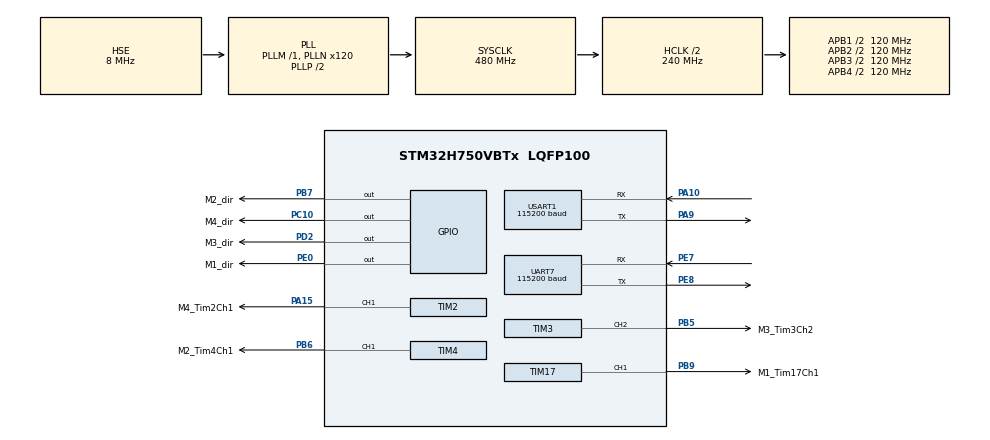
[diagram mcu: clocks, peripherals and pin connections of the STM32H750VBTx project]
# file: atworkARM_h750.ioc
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CORTEX_M7.default_mode_Activation=1
Mcu.Family=STM32H7
Mcu.Name=STM32H750VBTx
Mcu.Package=LQFP100
NVIC.PriorityGroup=NVIC_PRIORITYGROUP_4
NVIC.TIM17_IRQn=true\:0\:0\:false\:false\:true\:true\:true\:true
NVIC.TIM2_IRQn=true\:0\:0\:false\:false\:true\:true\:true\:true
NVIC.TIM3_IRQn=true\:0\:0\:false\:false\:true\:true\:true\:true
NVIC.TIM4_IRQn=true\:0\:0\:false\:false\:true\:true\:true\:true
PA10.Mode=Asynchronous
PA10.Signal=USART1_RX
PA15\ (JTDI).GPIO_Label=M4_Tim2Ch1
PA15\ (JTDI).Signal=S_TIM2_CH1_ETR
PA9.Mode=Asynchronous
PA9.Signal=USART1_TX
PB5.GPIO_Label=M3_Tim3Ch2
PB5.Signal=S_TIM3_CH2
PB6.GPIO_Label=M2_Tim4Ch1
PB6.Signal=S_TIM4_CH1
PB7.GPIO_Label=M2_dir
PB7.Signal=GPIO_Output
PB9.GPIO_Label=M1_Tim17Ch1
PB9.Signal=S_TIM17_CH1
PC10.GPIO_Label=M4_dir
PC10.Signal=GPIO_Output
PD2.GPIO_Label=M3_dir
PD2.Signal=GPIO_Output
PE0.GPIO_Label=M1_dir
PE0.Signal=GPIO_Output
PE7.Mode=Asynchronous
PE7.Signal=UART7_RX
PE8.Mode=Asynchronous
PE8.Signal=UART7_TX
PH0-OSC_IN\ (PH0).Mode=HSE-External-Oscillator
PH0-OSC_IN\ (PH0).Signal=RCC_OSC_IN
PH1-OSC_OUT\ (PH1).Mode=HSE-External-Oscillator
PH1-OSC_OUT\ (PH1).Signal=RCC_OSC_OUT
ProjectManager.HeapSize=0x200
ProjectManager.StackSize=0x400
ProjectManager.TargetToolchain=STM32CubeIDE
RCC.ADCFreq_Value=16125000
RCC.APB1Freq_Value=120000000
RCC.APB2Freq_Value=120000000
RCC.APB3Freq_Value=120000000
RCC.APB4Freq_Value=120000000
RCC.CodegenConfigPeriph=true
RCC.CortexFreq_Value=480000000
RCC.D1PPRE=RCC_APB3_DIV2
RCC.D2PPRE1=RCC_APB1_DIV2
RCC.D2PPRE2=RCC_APB2_DIV2
RCC.D3PPRE=RCC_APB4_DIV2
RCC.DATA_CACHE_ENABLE=1
RCC.DIVM1=1
RCC.DIVN1=120
RCC.HCLKFreq_Value=240000000
RCC.HPRE=RCC_HCLK_DIV2
RCC.HSE_VALUE=8000000
RCC.INSTRUCTION_CACHE_ENABLE=1
RCC.LSE_Drive_CapabilityArg=+LSE_Drive_Capability
RCC.PLLFRACN=0
RCC.PLLSourceVirtual=RCC_PLLSOURCE_HSE
RCC.PREFETCH_ENABLE=0
RCC.SYSCLKFreq_VALUE=480000000
RCC.SYSCLKSource=RCC_SYSCLKSOURCE_PLLCLK
RCC.USBFreq_Value=480000000
SH.S_TIM17_CH1.0=TIM17_CH1,PWM Generation1 CH1
SH.S_TIM2_CH1_ETR.0=TIM2_CH1,PWM Generation1 CH1
SH.S_TIM3_CH2.0=TIM3_CH2,PWM Generation2 CH2
SH.S_TIM4_CH1.0=TIM4_CH1,PWM Generation1 CH1
TIM17.Channel=TIM_CHANNEL_1
TIM17.Prescaler=0
TIM2.Channel-PWM\ Generation1\ CH1=TIM_CHANNEL_1
TIM3.Channel-PWM\ Generation2\ CH2=TIM_CHANNEL_2
TIM4.Channel-PWM\ Generation1\ CH1=TIM_CHANNEL_1
UART7.BaudRate=115200
UART7.Mode=MODE_TX_RX
USART1.BaudRate=115200
USART1.Mode=MODE_TX_RX
USART1.Parity=PARITY_NONE
USART1.VirtualMode-Asynchronous=VM_ASYNC
VP_MEMORYMAP_VS_MEMORYMAP.Mode=CurAppReg
VP_TIM17_VS_ClockSourceINT.Mode=Enable_Timer
VP_TIM2_VS_ClockSourceINT.Mode=Internal
VP_TIM3_VS_ClockSourceINT.Mode=Internal
VP_TIM4_VS_ClockSourceINT.Mode=Internal
board=custom

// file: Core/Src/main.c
/* USER CODE BEGIN Header */
/**
 ******************************************************************************
 * @file           : main.c
 * @brief          : Main program body
 ******************************************************************************
 * @attention
 *
 * Copyright (c) 2026 STMicroelectronics.
 * All rights reserved.
 *
 * This software is licensed under terms that can be found in the LICENSE file
 * in the root directory of this software component.
 * If no LICENSE file comes with this software, it is provided AS-IS.
 *
 ******************************************************************************
 */
/* USER CODE END Header */
#include "main.h"
#include "memorymap.h"
#include "tim.h"
#include "usart.h"
#include "gpio.h"

/* USER CODE BEGIN Includes */
#include "math.h"
#include <stdio.h>
#include <stdbool.h>  //For bool
#include <stdint.h>
#include <string.h>
/* USER CODE END Includes */

/* USER CODE BEGIN PTD */

#define MOTOR_PULSES_PER_REV    2000
#define MAX_MOTOR_FREQ_HZ       30000.0
#define TIMER_CLK_HZ            240000000UL

#define GEAR_RATIO_M1           20
#define GEAR_RATIO_M2           100
#define GEAR_RATIO_M3           40
#define GEAR_RATIO_M4           60

char msg[128];
volatile bool motors_busy = false;
volatile uint32_t psc;
volatile uint32_t arr;
volatile double f_step;
volatile uint32_t ccr;
/* USER CODE END PTD */

/* USER CODE BEGIN PD */
double motor_freq[4];
volatile uint32_t motor_pulses[4];
volatile uint32_t motor_pulse_count[4] = { 0, 0, 0, 0 };
double SPEED_INDEX = 1.0;

// Robot parameters
volatile bool dir[4];
volatile int16_t DELTA[4];
volatile bool flag_send_complt;
volatile uint8_t completed_mask = 0;
volatile uint32_t last_debug_time;
// Conversion to motor pulses
double pulses;

double motor_angle[4];
double required_motion[4];

double max_motion = 0.0;
double max_frequency;

/* USER CODE END PD */

/* USER CODE BEGIN PV */

///////usart1  parameters definition
uint8_t rx_byte;

char motor_packet[27];
uint8_t packet_index = 0;
uint8_t new_motor_packet = 0;

void UART1_ProcessByte(uint8_t c);
void ProcessMotorPacket(void);

/* USER CODE END PV */

void SystemClock_Config(void);
static void MPU_Config(void);

/* USER CODE BEGIN 0 */

void UART1_ProcessByte(uint8_t c) {
	/*
	 * We are waiting for the beginning
	 * of a new packet.
	 */
	if (packet_index == 0) {
		if (c == 'A') {
			motor_packet[0] = 'A';
			packet_index = 1;
		}

		return;
	}

	/*
	 * We are already receiving a packet.
	 *
	 * If another A appears, discard the
	 * incomplete packet and start again.
	 */
	if (c == 'A') {
		motor_packet[0] = 'A';
		packet_index = 1;

		return;
	}

	/*
	 * Store the byte.
	 */
	motor_packet[packet_index] = c;
	packet_index++;

	/*
	 * 26 bytes received:
	 *
	 * [0]  A
	 * [1]  DIR1
	 * [2-5] DELTA1
	 *
	 * [6]  DIR2
	 * [7-10] DELTA2
	 *
	 * [11] DIR3
	 * [12-15] DELTA3
	 *
	 * [16] DIR4
	 * [17-20] DELTA4
	 *
	 * [21] B
	 */
	if (packet_index == 22) {
		if (motor_packet[21] == 'B') {
			ProcessMotorPacket();
			new_motor_packet = 1;
		}

		/*
		 * Ready for the next packet.
		 */
		packet_index = 0;
	}
}

void ProcessMotorPacket(void) {

	// Motor 1
	dir[0] = motor_packet[1] - '0';

	DELTA[0] = (motor_packet[2] - '0') * 1000 + (motor_packet[3] - '0') * 100
			+ (motor_packet[4] - '0') * 10 + (motor_packet[5] - '0');

	// Motor 2
	dir[1] = motor_packet[6] - '0';

	DELTA[1] = (motor_packet[7] - '0') * 1000 + (motor_packet[8] - '0') * 100
			+ (motor_packet[9] - '0') * 10 + (motor_packet[10] - '0');

	// Motor 3
	dir[2] = motor_packet[11] - '0';

	DELTA[2] = (motor_packet[12] - '0') * 1000 + (motor_packet[13] - '0') * 100
			+ (motor_packet[14] - '0') * 10 + (motor_packet[15] - '0');

	// Motor 4
	dir[3] = motor_packet[16] - '0';

	DELTA[3] = (motor_packet[17] - '0') * 1000 + (motor_packet[18] - '0') * 100
			+ (motor_packet[19] - '0') * 10 + (motor_packet[20] - '0');

}
void CalculateMotorMotion(const int16_t DELTA[4]) {
	max_motion = 0.0;
	const uint32_t gear[4] = {
	GEAR_RATIO_M1,
	GEAR_RATIO_M2,
	GEAR_RATIO_M3,
	GEAR_RATIO_M4 };
	/*
	 * DELTA is assumed to be in 0.1 degree units.
	 *
	 * Example:
	 * DELTA = 900 means 90.0 degrees.
	 */

	for (uint8_t i = 0; i < 4; i++) {
		motor_angle[i] = fabs(DELTA[i]) / 10.0;

		/*
		 * required_motion is proportional to the
		 * number of motor revolutions required.
		 */
		required_motion[i] = motor_angle[i] * gear[i];

		if (required_motion[i] > max_motion) {
			max_motion = required_motion[i];
		}
	}

	if (max_motion == 0.0) {
		for (uint8_t i = 0; i < 4; i++) {
			motor_freq[i] = 0.0;
			motor_pulses[i] = 0;
		}

		return;
	}

	/*
	 * The motor requiring the largest number of pulses
	 * gets the maximum frequency.
	 */
	max_frequency = MOTOR_PULSES_PER_REV * SPEED_INDEX;

	/*
	 * Calculate exact pulse counts
	 */
	for (uint8_t i = 0; i < 4; i++) {

		pulses = (motor_angle[i] / 360.0) * (double) MOTOR_PULSES_PER_REV
				* (double) gear[i];

		motor_pulses[i] = (uint32_t) llround(pulses);

		/*
		 * Frequency proportional to required pulses
		 */
		motor_freq[i] = max_frequency * required_motion[i] / max_motion;
	}

}

//positive direction --> set dir pin
void SetMotorDirections(bool dir[4]) {
	if (dir[0] == 1)
		HAL_GPIO_WritePin(M1_dir_GPIO_Port,
		M1_dir_Pin, GPIO_PIN_SET);
	else
		HAL_GPIO_WritePin(M1_dir_GPIO_Port,
		M1_dir_Pin, GPIO_PIN_RESET);

	if (dir[1] == 1)
		HAL_GPIO_WritePin(M2_dir_GPIO_Port,
		M2_dir_Pin, GPIO_PIN_SET);
	else
		HAL_GPIO_WritePin(M2_dir_GPIO_Port,
		M2_dir_Pin, GPIO_PIN_RESET);

	if (dir[2] == 1)
		HAL_GPIO_WritePin(M3_dir_GPIO_Port,
		M3_dir_Pin, GPIO_PIN_SET);
	else
		HAL_GPIO_WritePin(M3_dir_GPIO_Port,
		M3_dir_Pin, GPIO_PIN_RESET);

	if (dir[3] == 1)
		HAL_GPIO_WritePin(M4_dir_GPIO_Port,
		M4_dir_Pin, GPIO_PIN_SET);
	else
		HAL_GPIO_WritePin(M4_dir_GPIO_Port,
		M4_dir_Pin, GPIO_PIN_RESET);
}
void StartMotorMove(void) {
	motors_busy = true;
	flag_send_complt = 0;
	completed_mask = 0;

	motor_pulse_count[0] = 0;
	motor_pulse_count[1] = 0;
	motor_pulse_count[2] = 0;
	motor_pulse_count[3] = 0;

	/*
	 * Motors with zero pulses are already complete.
	 */
	if (motor_pulses[0] == 0)
		completed_mask |= (1U << 0);

	if (motor_pulses[1] == 0)
		completed_mask |= (1U << 1);

	if (motor_pulses[2] == 0)
		completed_mask |= (1U << 2);

	if (motor_pulses[3] == 0)
		completed_mask |= (1U << 3);

	/*
	 * Configure frequencies
	 */
	SetMotorFrequency(&htim17,
	TIM_CHANNEL_1, motor_freq[0]);

	SetMotorFrequency(&htim4,
	TIM_CHANNEL_1, motor_freq[1]);

	SetMotorFrequency(&htim3,
	TIM_CHANNEL_2, motor_freq[2]);

	SetMotorFrequency(&htim2,
	TIM_CHANNEL_1, motor_freq[3]);

	/*
	 * Start TIM17
	 */
	if (motor_pulses[0] > 0) {
		__HAL_TIM_SET_COUNTER(&htim17, 0);
		__HAL_TIM_CLEAR_FLAG(&htim17, TIM_FLAG_UPDATE);
		__HAL_TIM_ENABLE_IT(&htim17, TIM_IT_UPDATE);

		HAL_TIM_PWM_Start(&htim17, TIM_CHANNEL_1);
	}

	/*
	 * Start TIM4
	 */
	if (motor_pulses[1] > 0) {
		__HAL_TIM_SET_COUNTER(&htim4, 0);
		__HAL_TIM_CLEAR_FLAG(&htim4, TIM_FLAG_UPDATE);
		__HAL_TIM_ENABLE_IT(&htim4, TIM_IT_UPDATE);

		HAL_TIM_PWM_Start(&htim4, TIM_CHANNEL_1);
	}

	/*
	 * Start TIM3
	 */
	if (motor_pulses[2] > 0) {
		__HAL_TIM_SET_COUNTER(&htim3, 0);
		__HAL_TIM_CLEAR_FLAG(&htim3, TIM_FLAG_UPDATE);
		__HAL_TIM_ENABLE_IT(&htim3, TIM_IT_UPDATE);

		HAL_TIM_PWM_Start(&htim3, TIM_CHANNEL_2);
	}

	/*
	 * Start TIM2
	 */
	if (motor_pulses[3] > 0) {
		__HAL_TIM_SET_COUNTER(&htim2, 0);
		__HAL_TIM_CLEAR_FLAG(&htim2, TIM_FLAG_UPDATE);
		__HAL_TIM_ENABLE_IT(&htim2, TIM_IT_UPDATE);

		HAL_TIM_PWM_Start(&htim2, TIM_CHANNEL_1);
	}

}
void SetMotorFrequency(TIM_HandleTypeDef *htim, uint32_t Channel,
		double frequency) {
	uint32_t psc;
	uint32_t arr;
	uint32_t ccr;

	if (frequency <= 0.0) {
		HAL_TIM_PWM_Stop(htim, Channel);
		__HAL_TIM_DISABLE_IT(htim, TIM_IT_UPDATE);
		return;
	}

	/*
	 * Find the smallest prescaler that allows ARR
	 * to fit into a 16-bit timer.
	 *
	 * TIM2 is 32-bit, but this also works for it.
	 */
	psc = 0;

	while ((TIMER_CLK_HZ / ((uint64_t) (psc + 1) * frequency)) > 65536.0) {
		psc++;

		if (psc >= 65535)
			break;
	}

	double period_counts =
	TIMER_CLK_HZ / ((double) (psc + 1) * frequency);

	arr = (uint32_t) llround(period_counts - 1.0);

	if (arr > 65535)
		arr = 65535;

	ccr = (arr + 1) / 2;

	HAL_TIM_PWM_Stop(htim, Channel);
	__HAL_TIM_DISABLE_IT(htim, TIM_IT_UPDATE);

	__HAL_TIM_SET_PRESCALER(htim, psc);
	__HAL_TIM_SET_AUTORELOAD(htim, arr);
	__HAL_TIM_SET_COMPARE(htim, Channel, ccr);
	__HAL_TIM_SET_COUNTER(htim, 0);

	HAL_TIM_GenerateEvent(htim, TIM_EVENTSOURCE_UPDATE);
	__HAL_TIM_CLEAR_FLAG(htim, TIM_FLAG_UPDATE);
}
void HAL_TIM_PeriodElapsedCallback(TIM_HandleTypeDef *htim) {
	if (htim->Instance == TIM17) {
		motor_pulse_count[0]++;

		if (motor_pulse_count[0] >= motor_pulses[0]) {
			HAL_TIM_PWM_Stop(&htim17, TIM_CHANNEL_1);
			__HAL_TIM_DISABLE_IT(&htim17, TIM_IT_UPDATE);

            motor_pulse_count[0] = 0;
			completed_mask |= (1U << 0);
		}
	}

	else if (htim->Instance == TIM4) {
		motor_pulse_count[1]++;

		if (motor_pulse_count[1] >= motor_pulses[1]) {
			HAL_TIM_PWM_Stop(&htim4, TIM_CHANNEL_1);
			__HAL_TIM_DISABLE_IT(&htim4, TIM_IT_UPDATE);

            motor_pulse_count[1] = 0;
			completed_mask |= (1U << 1);
		}
	}

	else if (htim->Instance == TIM3) {
		motor_pulse_count[2]++;

		if (motor_pulse_count[2] >= motor_pulses[2]) {
			HAL_TIM_PWM_Stop(&htim3, TIM_CHANNEL_2);
			__HAL_TIM_DISABLE_IT(&htim3, TIM_IT_UPDATE);

            motor_pulse_count[2] = 0;
			completed_mask |= (1U << 2);
		}
	}

	else if (htim->Instance == TIM2) {
		motor_pulse_count[3]++;

		if (motor_pulse_count[3] >= motor_pulses[3]) {
			HAL_TIM_PWM_Stop(&htim2, TIM_CHANNEL_1);
			__HAL_TIM_DISABLE_IT(&htim2, TIM_IT_UPDATE);

            motor_pulse_count[3] = 0;
			completed_mask |= (1U << 3);
		}
	}

	if (completed_mask == 0x0F) {
		flag_send_complt = 1;
		motors_busy = false;
	}
}

/* USER CODE END 0 */

int main(void) {

	/* MPU Configuration--------------------------------------------------------*/
	MPU_Config();

	/* MCU Configuration--------------------------------------------------------*/

	/* Reset of all peripherals, Initializes the Flash interface and the Systick. */
	HAL_Init();

	/* Configure the system clock */
	SystemClock_Config();

	/* Initialize all configured peripherals */
	MX_GPIO_Init();
	MX_TIM3_Init();
	MX_TIM4_Init();
	MX_TIM17_Init();
	MX_UART7_Init();
	MX_USART1_UART_Init();
	MX_TIM2_Init();

	/* Infinite loop */
	/* USER CODE BEGIN WHILE */
	while (1) {
		if (HAL_UART_Receive(&huart1, &rx_byte, 1, 1) == HAL_OK)
			UART1_ProcessByte(rx_byte);

		if (new_motor_packet && !motors_busy) {
			new_motor_packet = 0;
			CalculateMotorMotion(DELTA);

			sprintf(msg, "%4u,%4u,%4u,%4u \r\n", motor_pulses[0], motor_pulses[1],
					motor_pulses[2], motor_pulses[3]);
			HAL_UART_Transmit(&huart7, (uint8_t*) msg, strlen(msg), 10);

			sprintf(msg, "%8.2f,%8.2f,%8.2f,%8.2f\r\n", motor_freq[0],
					motor_freq[1], motor_freq[2], motor_freq[3]);
			HAL_UART_Transmit(&huart7, (uint8_t*) msg, strlen(msg), 10);
			if (max_motion > 0.0) {
				SetMotorDirections(dir);
				StartMotorMove();
			}
		}
//		if (flag_send_complt)
//		{
//		    flag_send_complt = 0;
//
//		    sprintf(msg, "DONE: %lu,%lu,%lu,%lu\r\n",
//		            (unsigned long)motor_pulse_count[0],
//		            (unsigned long)motor_pulse_count[1],
//		            (unsigned long)motor_pulse_count[2],
//		            (unsigned long)motor_pulse_count[3]);
//
//		    HAL_UART_Transmit(&huart7, (uint8_t *)msg, strlen(msg), 10);
//		}
//		if (HAL_GetTick() - last_debug_time >= 100)
//		{
//		    last_debug_time = HAL_GetTick();
//
//		    sprintf(msg, "%lu,%lu,%lu,%lu\r\n",
//		            (unsigned long)motor_pulse_count[0],
//		            (unsigned long)motor_pulse_count[1],
//		            (unsigned long)motor_pulse_count[2],
//		            (unsigned long)motor_pulse_count[3]);
//
//		    HAL_UART_Transmit(&huart7, (uint8_t*)msg, strlen(msg), 10);
//		}
		/* USER CODE END WHILE */

	}
}

void SystemClock_Config(void) {
	RCC_OscInitTypeDef RCC_OscInitStruct = { 0 };
	RCC_ClkInitTypeDef RCC_ClkInitStruct = { 0 };

	/** Supply configuration update enable
	 */
	HAL_PWREx_ConfigSupply(PWR_LDO_SUPPLY);

	/** Configure the main internal regulator output voltage
	 */
	__HAL_PWR_VOLTAGESCALING_CONFIG(PWR_REGULATOR_VOLTAGE_SCALE0);

	while (!__HAL_PWR_GET_FLAG(PWR_FLAG_VOSRDY)) {
	}

	/** Initializes the RCC Oscillators according to the specified parameters
	 * in the RCC_OscInitTypeDef structure.
	 */
	RCC_OscInitStruct.OscillatorType = RCC_OSCILLATORTYPE_HSE;
	RCC_OscInitStruct.HSEState = RCC_HSE_ON;
	RCC_OscInitStruct.PLL.PLLState = RCC_PLL_ON;
	RCC_OscInitStruct.PLL.PLLSource = RCC_PLLSOURCE_HSE;
	RCC_OscInitStruct.PLL.PLLM = 1;
	RCC_OscInitStruct.PLL.PLLN = 120;
	RCC_OscInitStruct.PLL.PLLP = 2;
	RCC_OscInitStruct.PLL.PLLQ = 2;
	RCC_OscInitStruct.PLL.PLLR = 2;
	RCC_OscInitStruct.PLL.PLLRGE = RCC_PLL1VCIRANGE_3;
	RCC_OscInitStruct.PLL.PLLVCOSEL = RCC_PLL1VCOWIDE;
	RCC_OscInitStruct.PLL.PLLFRACN = 0;
	if (HAL_RCC_OscConfig(&RCC_OscInitStruct) != HAL_OK) {
		Error_Handler();
	}

	/** Initializes the CPU, AHB and APB buses clocks
	 */
	RCC_ClkInitStruct.ClockType = RCC_CLOCKTYPE_HCLK | RCC_CLOCKTYPE_SYSCLK
			| RCC_CLOCKTYPE_PCLK1 | RCC_CLOCKTYPE_PCLK2 | RCC_CLOCKTYPE_D3PCLK1
			| RCC_CLOCKTYPE_D1PCLK1;
	RCC_ClkInitStruct.SYSCLKSource = RCC_SYSCLKSOURCE_PLLCLK;
	RCC_ClkInitStruct.SYSCLKDivider = RCC_SYSCLK_DIV1;
	RCC_ClkInitStruct.AHBCLKDivider = RCC_HCLK_DIV2;
	RCC_ClkInitStruct.APB3CLKDivider = RCC_APB3_DIV2;
	RCC_ClkInitStruct.APB1CLKDivider = RCC_APB1_DIV2;
	RCC_ClkInitStruct.APB2CLKDivider = RCC_APB2_DIV2;
	RCC_ClkInitStruct.APB4CLKDivider = RCC_APB4_DIV2;

	if (HAL_RCC_ClockConfig(&RCC_ClkInitStruct, FLASH_LATENCY_4) != HAL_OK) {
		Error_Handler();
	}
}

/* MPU Configuration */

void MPU_Config(void) {
	MPU_Region_InitTypeDef MPU_InitStruct = { 0 };

	/* Disables the MPU */
	HAL_MPU_Disable();

	/** Initializes and configures the Region and the memory to be protected
	 */
	MPU_InitStruct.Enable = MPU_REGION_ENABLE;
	MPU_InitStruct.Number = MPU_REGION_NUMBER0;
	MPU_InitStruct.BaseAddress = 0x0;
	MPU_InitStruct.Size = MPU_REGION_SIZE_4GB;
	MPU_InitStruct.SubRegionDisable = 0x87;
	MPU_InitStruct.TypeExtField = MPU_TEX_LEVEL0;
	MPU_InitStruct.AccessPermission = MPU_REGION_NO_ACCESS;
	MPU_InitStruct.DisableExec = MPU_INSTRUCTION_ACCESS_DISABLE;
	MPU_InitStruct.IsShareable = MPU_ACCESS_SHAREABLE;
	MPU_InitStruct.IsCacheable = MPU_ACCESS_NOT_CACHEABLE;
	MPU_InitStruct.IsBufferable = MPU_ACCESS_NOT_BUFFERABLE;

	HAL_MPU_ConfigRegion(&MPU_InitStruct);
	/* Enables the MPU */
	HAL_MPU_Enable(MPU_PRIVILEGED_DEFAULT);

}

void Error_Handler(void) {
	__disable_irq();
	while (1) {
	}
}
